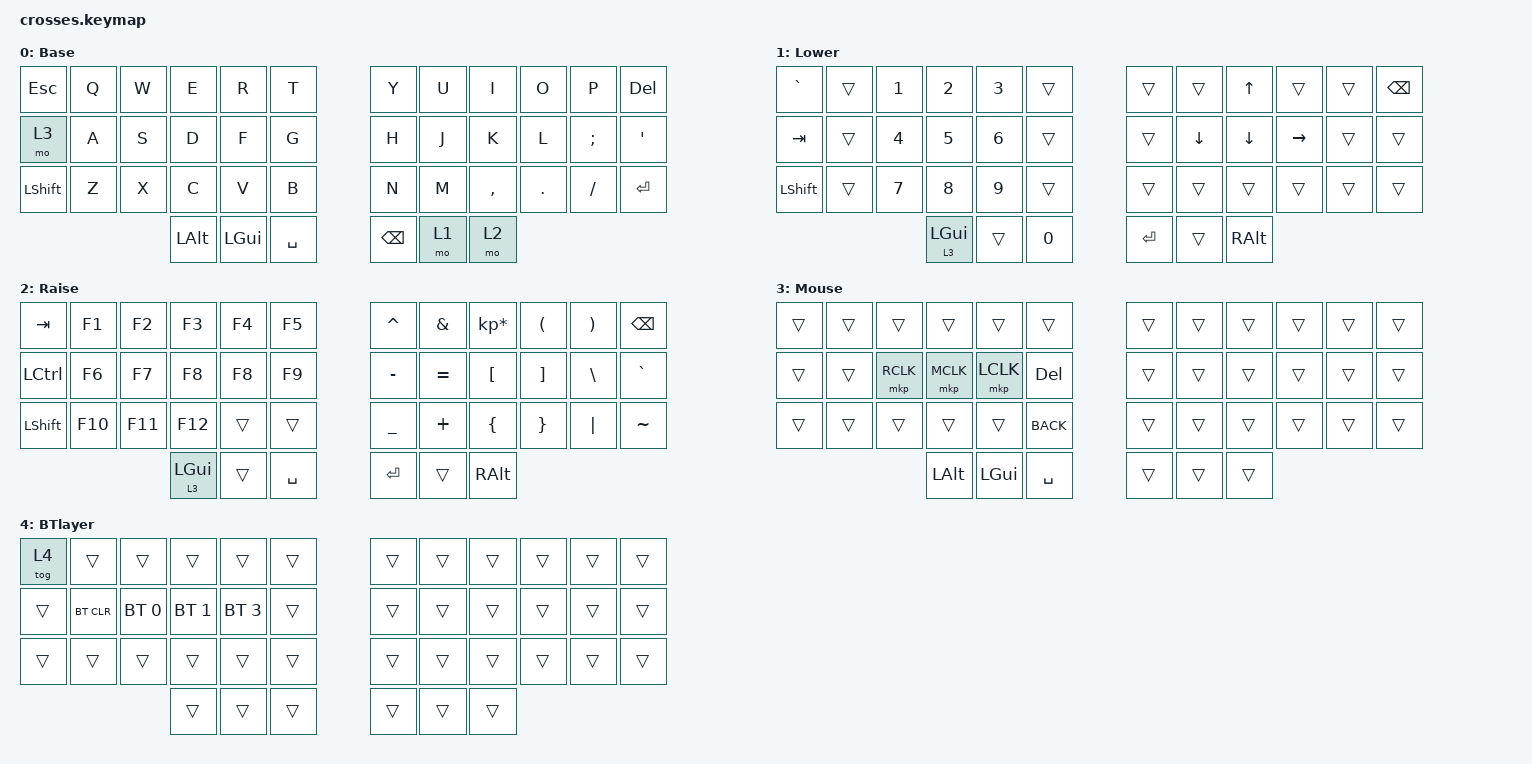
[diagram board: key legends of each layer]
#include <behaviors.dtsi>
#include <dt-bindings/zmk/bt.h>
#include <dt-bindings/zmk/keys.h>
#include <dt-bindings/zmk/pointing.h>

/ {
    chosen { zmk,physical-layout = &gggw_crosses_42_layout; };

    combos {
        compatible = "zmk,combos";

        btft {
            bindings = <&tog 4>;
            key-positions = <28 29 30 31>;
        };

        control {
            bindings = <&kp LCTRL>;
            key-positions = <24 25>;
        };
    };

    keymap {
        compatible = "zmk,keymap";

        default_layer {
            display-name = "Base";
            bindings = <
&kp ESC    &kp Q  &kp W  &kp E         &kp R         &kp T      &kp Y          &kp U  &kp I      &kp O    &kp P     &kp DELETE
&mo 3      &kp A  &kp S  &kp D         &kp F         &kp G      &kp H          &kp J  &kp K      &kp L    &kp SEMI  &kp SQT
&kp LSHFT  &kp Z  &kp X  &kp C         &kp V         &kp B      &kp N          &kp M  &kp COMMA  &kp DOT  &kp FSLH  &kp ENTER
                         &kp LEFT_ALT  &kp LEFT_GUI  &kp SPACE  &kp BACKSPACE  &mo 1  &mo 2
            >;
        };

        lower_layer {
            display-name = "Lower";
            bindings = <
&kp GRAVE  &trans  &kp N1        &kp NUMBER_2  &kp NUMBER_3  &trans        &trans   &trans    &kp UP_ARROW  &trans     &trans  &kp BSPC
&kp TAB    &trans  &kp NUMBER_4  &kp N5        &kp NUMBER_6  &trans        &trans   &kp DOWN  &kp DOWN      &kp RIGHT  &trans  &trans
&kp LSHFT  &trans  &kp N7        &kp N8        &kp N9        &trans        &trans   &trans    &trans        &trans     &trans  &trans
                                 &lt 3 LGUI    &trans        &kp NUMBER_0  &kp RET  &trans    &kp RALT
            >;
        };

        raise_layer {
            display-name = "Raise";
            bindings = <
&kp TAB    &kp F1   &kp F2   &kp F3      &kp F4  &kp F5     &kp CARET  &kp AMPS   &kp KP_MULTIPLY  &kp LPAR  &kp RPAR  &kp BSPC
&kp LCTRL  &kp F6   &kp F7   &kp F8      &kp F8  &kp F9     &kp MINUS  &kp EQUAL  &kp LBKT         &kp RBKT  &kp BSLH  &kp GRAVE
&kp LSHFT  &kp F10  &kp F11  &kp F12     &trans  &trans     &kp UNDER  &kp PLUS   &kp LBRC         &kp RBRC  &kp PIPE  &kp TILDE
                             &lt 3 LGUI  &trans  &kp SPACE  &kp RET    &trans     &kp RALT
            >;
        };

        mouse_layer {
            display-name = "Mouse";
            bindings = <
&trans  &trans  &trans     &trans        &trans        &trans      &trans  &trans  &trans  &trans  &trans  &trans
&trans  &trans  &mkp RCLK  &mkp MCLK     &mkp LCLK     &kp DELETE  &trans  &trans  &trans  &trans  &trans  &trans
&trans  &trans  &trans     &trans        &trans        &kp K_BACK  &trans  &trans  &trans  &trans  &trans  &trans
                           &kp LEFT_ALT  &kp LEFT_GUI  &kp SPACE   &trans  &trans  &trans
            >;
        };

        BTlayer {
            bindings = <
&tog 4  &trans      &trans        &trans        &trans        &trans  &trans  &trans  &trans  &trans  &trans  &trans
&trans  &bt BT_CLR  &bt BT_SEL 0  &bt BT_SEL 1  &bt BT_SEL 3  &trans  &trans  &trans  &trans  &trans  &trans  &trans
&trans  &trans      &trans        &trans        &trans        &trans  &trans  &trans  &trans  &trans  &trans  &trans
                                  &trans        &trans        &trans  &trans  &trans  &trans
            >;
        };
    };
};
